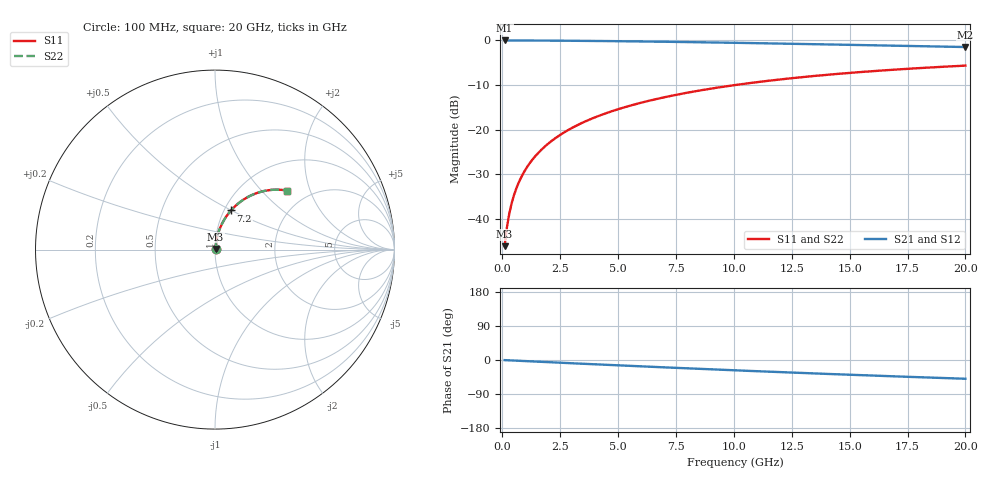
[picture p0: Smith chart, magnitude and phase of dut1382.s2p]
! Touchstone file exported from HFSS 2026.1.0
!  File:  C:/ffzhzh/LocalFiles/Ansys_Project_Files/temp_train_BSMRDL_1382_1783179549_55132.aedt
!  Generated:  11:40:36 PM Jul  4, 2026
!  Design:  BSMRDL
!  Project:  temp_train_BSMRDL_1382_1783179549_55132
! Variables:
!  h_bsmrdl = 5.98um
!  h_ox = 20um
!  h_rdl = 5um
!  h_sub = 80um
!  h_tmrdl = 5um
!  h_tsv = 80um
!  h_via = 3um
!  l_bsmrdl = 700.24um
!  l_sub = 1100.24um
!  l_tmrdl = 200um
!  m_sub = 200um
!  pitch = 50.51um
!  r_tsv = 6um
!  s_tmrdl = 10um
!  w_bsmrdl = 12.64um
!  w_sub = 500um
!  w_tmrdl = 12um
!  x_tsv_center1 = 206um
!  x_tsv_center2 = 918.88um
!  x_tsv_center3 = 1130.88um
!  x_tsv_center4 = 1843.76um
!  x_tsv_center5 = 2055.76um
!  x_tsv_center6 = 2768.64um
# GHz S MA R 50.000000
! Terminal data exported
! Port[1] = BSM_RDL1_1_T1
! Port[2] = BSM_RDL1_1_T2
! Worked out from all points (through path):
!   200 points, 100 MHz to 20 GHz, reference 50 ohm
!   highest |S21| = -0.03 dB at 100 MHz (marker M1); lowest = -1.5 dB at 20 GHz (marker M2)
!   group delay of S21, straight-line fit = 6.88 ps
!   lowest |S11| = -46.2 dB at 100 MHz (marker M3), VSWR 1.01, Z = 50.3 + j0.365 ohm
!   |S11| at or under -10 dB: start of sweep to 10.09 GHz
!   |S22| runs from -46.2 to -5.7 dB; largest |S21 - S12| = 7.4e-15
!   S11 on the Smith chart (normalised r, x): 100 MHz: 1.01, +0.01; 7.2 GHz: 1.08, +0.50; 20 GHz: 1.57, +1.42
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0.1  0.004924 47.3  0.9967 -0.3  0.9967 -0.3  0.004924 47.3
! Gamma 0 0 0 0
! Port Impedance 50 0 50 0
0.2  0.007996 64.3  0.9966 -0.6  0.9966 -0.6  0.007996 64.3
0.3  0.01134 71.2  0.9965 -0.9  0.9965 -0.9  0.01134 71.2
0.4  0.01476 74.8  0.9963 -1.2  0.9963 -1.2  0.01476 74.8
0.5  0.0182 77.0  0.9962 -1.5  0.9962 -1.5  0.0182 77.0
0.7  0.02511 79.3  0.9959 -2.0  0.9959 -2.0  0.02511 79.3
0.8  0.02858 80.0  0.9958 -2.3  0.9958 -2.3  0.02858 80.0
1  0.03552 80.7  0.9954 -2.9  0.9954 -2.9  0.03552 80.7
1.4  0.04939 81.0  0.9946 -4.0  0.9946 -4.0  0.04939 81.0
1.7  0.05975 80.8  0.9938 -4.9  0.9938 -4.9  0.05975 80.8
2  0.07005 80.4  0.9928 -5.8  0.9928 -5.8  0.07005 80.4
2.7  0.09384 79.0  0.9902 -7.7  0.9902 -7.7  0.09384 79.0
3.5  0.1205 77.1  0.9865 -10.0  0.9865 -10.0  0.1205 77.1
4.2  0.1433 75.3  0.9827 -11.9  0.9827 -11.9  0.1433 75.3
5  0.1689 73.3  0.9779 -14.1  0.9779 -14.1  0.1689 73.3
6.8  0.224 68.8  0.9655 -18.9  0.9655 -18.9  0.224 68.8
7.2  0.2359 67.8  0.9624 -20.0  0.9624 -20.0  0.2359 67.8
8.6  0.276 64.3  0.951 -23.6  0.951 -23.6  0.276 64.3
10.1  0.3166 60.7  0.9377 -27.3  0.9377 -27.3  0.3166 60.7
13.4  0.3969 53.0  0.906 -35.3  0.906 -35.3  0.3969 53.0
16.7  0.4647 45.8  0.873 -42.7  0.873 -42.7  0.4647 45.8
20  0.5207 39.1  0.8411 -49.5  0.8411 -49.5  0.5207 39.1
